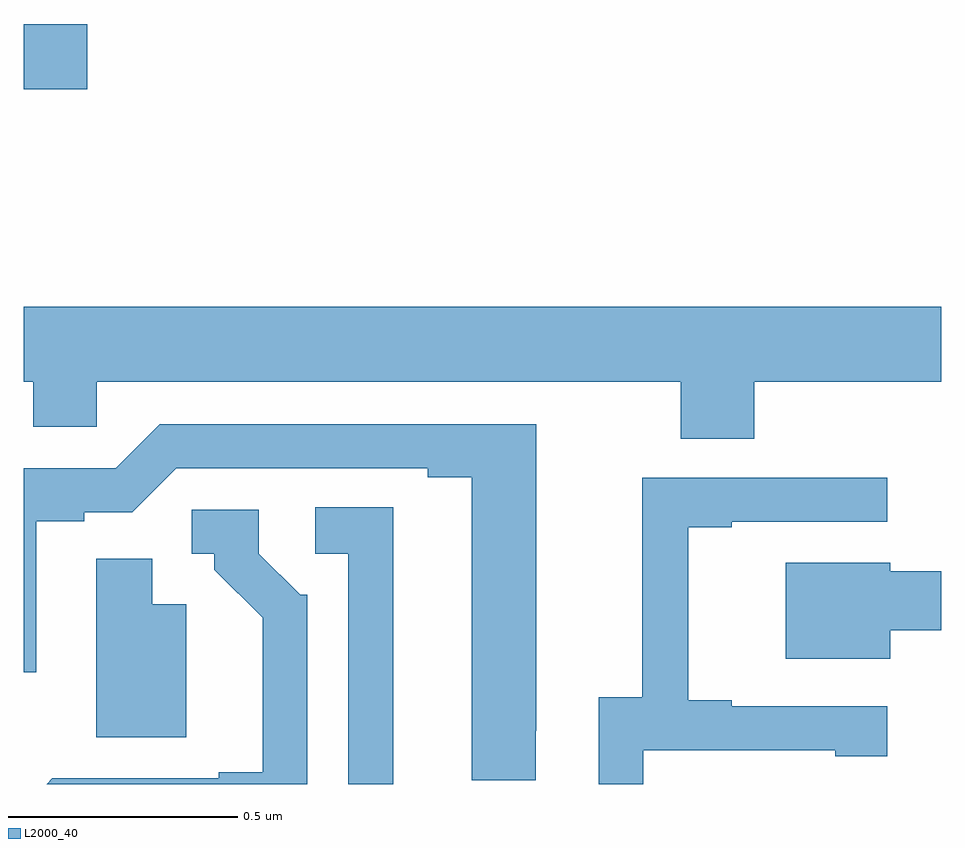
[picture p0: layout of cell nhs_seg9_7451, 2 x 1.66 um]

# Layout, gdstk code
import gdstk
lib = gdstk.Library(unit=1e-6, precision=1e-09)
def R(c, l, rs):  # rectangles x0, y0, x1, y1
    for r in rs: c.add(gdstk.rectangle(r[:2], r[2:], *l))
def P(c, l, *ps):  # polygons
    for p in ps: c.add(gdstk.Polygon(p, *l))
L2000_40 = (2000, 40)

nhs_seg9_7451 = lib.new_cell('nhs_seg9_7451')
R(nhs_seg9_7451, L2000_40, [(204,1241.014,204.139,1241.156)])
P(nhs_seg9_7451, L2000_40, [(205.592,1240.376),(206,1240.376),(206,1240.54),(204,1240.54),(204,1240.376),(204.021,1240.376),(204.021,1240.278),(204.159,1240.278),(204.159,1240.376),(205.432,1240.376),(205.432,1240.252),(205.592,1240.252)],
  [(205.116,1239.616),(205.117,1239.616),(205.117,1240.284),(204.297,1240.284),(204.201,1240.188),(204,1240.188),(204,1239.744),(204.028,1239.744),(204.028,1240.072),(204.132,1240.072),(204.132,1240.092),(204.237,1240.092),(204.333,1240.188),(204.881,1240.188),(204.881,1240.168),(204.977,1240.168),(204.977,1239.508),(205.116,1239.508)],
  [(205.35,1239.573),(205.769,1239.573),(205.769,1239.561),(205.882,1239.561),(205.882,1239.669),(205.543,1239.669),(205.543,1239.682),(205.448,1239.682),(205.448,1240.059),(205.543,1240.059),(205.543,1240.071),(205.882,1240.071),(205.882,1240.167),(205.348,1240.167),(205.348,1239.689),(205.253,1239.689),(205.253,1239.5),(205.35,1239.5)],
  [(204.805,1240.103),(204.636,1240.103),(204.636,1240.002),(204.708,1240.002),(204.708,1239.5),(204.805,1239.5)],
  [(204.618,1239.912),(204.603,1239.912),(204.513,1240.002),(204.513,1240.098),(204.366,1240.098),(204.366,1240.002),(204.416,1240.002),(204.416,1239.967),(204.521,1239.862),(204.521,1239.526),(204.425,1239.526),(204.425,1239.513),(204.063,1239.513),(204.05,1239.5),(204.618,1239.5)],
  [(204.355,1239.892),(204.28,1239.892),(204.28,1239.991),(204.158,1239.991),(204.158,1239.602),(204.355,1239.602)],
  [(205.888,1239.835),(206,1239.835),(206,1239.964),(205.888,1239.964),(205.888,1239.982),(205.661,1239.982),(205.661,1239.773),(205.888,1239.773)])

lib.write_gds('nhs_seg9_7451.gds')
